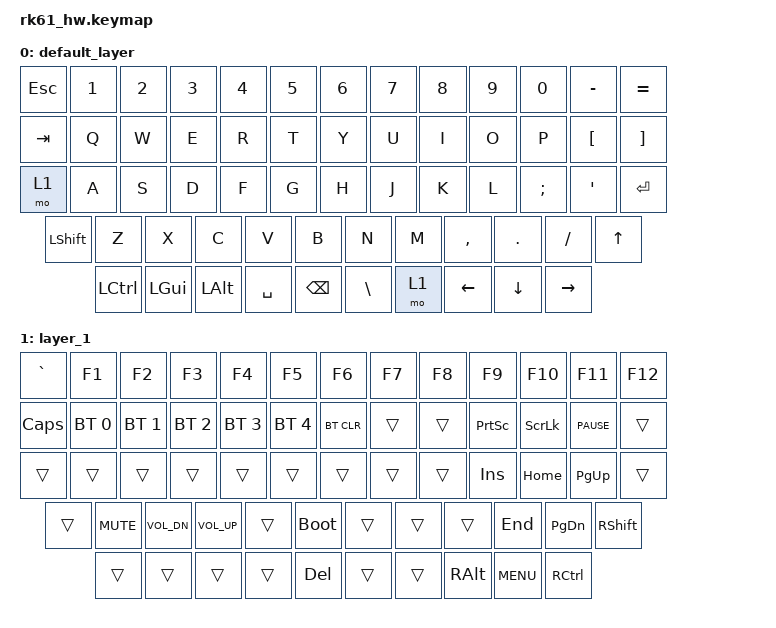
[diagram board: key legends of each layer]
#include <behaviors.dtsi>
#include <dt-bindings/zmk/keys.h>
#include <dt-bindings/zmk/bt.h>

/ {
    keymap {
        compatible = "zmk,keymap";

        default_layer {
            bindings = <
                &kp ESC    &kp N1    &kp N2    &kp N3    &kp N4    &kp N5    &kp N6    &kp N7    &kp N8    &kp N9    &kp N0    &kp MINUS    &kp EQUAL
                &kp TAB    &kp Q    &kp W    &kp E    &kp R    &kp T    &kp Y    &kp U    &kp I    &kp O    &kp P    &kp LBKT    &kp RBKT
                &mo 1    &kp A    &kp S    &kp D    &kp F    &kp G    &kp H    &kp J    &kp K    &kp L    &kp SEMI    &kp SQT    &kp RET
                &kp LSHFT    &kp Z    &kp X    &kp C    &kp V    &kp B    &kp N    &kp M    &kp COMMA    &kp DOT    &kp FSLH    &kp UP 
                &kp LCTRL    &kp LGUI    &kp LALT                   &kp SPACE               &kp BSPC  &kp BSLH  &mo 1    &kp LEFT    &kp DOWN    &kp RIGHT
            >;
        };

        layer_1 {
            bindings = <
                &kp GRAVE    &kp F1    &kp F2    &kp F3    &kp F4    &kp F5    &kp F6    &kp F7    &kp F8    &kp F9    &kp F10    &kp F11    &kp F12
                &kp CAPS  &bt BT_SEL 0  &bt BT_SEL 1    &bt BT_SEL 2    &bt BT_SEL 3    &bt BT_SEL 4    &bt BT_CLR    &trans    &trans    &kp PRINTSCREEN    &kp SLCK    &kp C_PAUSE    &trans
                &trans    &trans    &trans    &trans    &trans    &trans    &trans    &trans    &trans    &kp INS    &kp HOME    &kp PG_UP    &trans
                &trans    &kp C_MUTE    &kp C_VOL_DN    &kp C_VOL_UP    &trans    &bootloader    &trans    &trans    &trans    &kp END    &kp PG_DN    &kp RSHFT
                &trans    &trans    &trans                            &trans                &kp DEL    &trans  &trans  &kp RALT    &kp C_MENU    &kp RCTRL
            >;
        };
    };
 };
